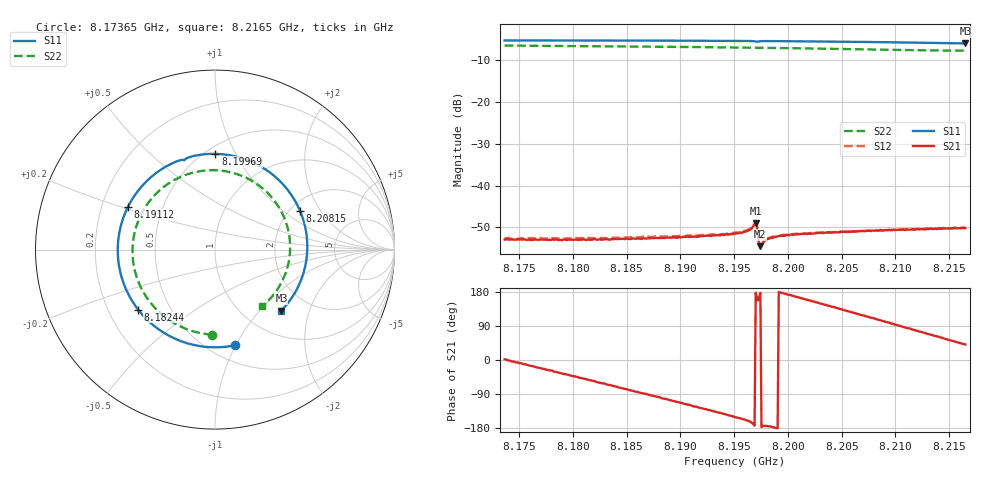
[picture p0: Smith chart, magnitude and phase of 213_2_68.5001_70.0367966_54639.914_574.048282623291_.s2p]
#  HZ  S  RI  R  50.00
! Rohde & Schwarz Vector Network Analyzer
! Rohde-Schwarz,ZNB20-2Port,1311601062101988,3.16
! Created: UTC 3/20/2024, 4:58:07 PM
! freq[Hz]  re:S11  im:S11  re:S21  im:S21  re:S12  im:S12  re:S22  im:S22
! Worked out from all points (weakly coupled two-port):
!   401 points, 8.17365 GHz to 8.2165 GHz, reference 50 ohm
!   highest |S21| = -49.03 dB at 8.19701 GHz (marker M1); lowest = -54.5 dB at 8.19744 GHz (marker M2)
!   lowest |S11| = -6.0 dB at 8.2165 GHz (marker M3), VSWR 3.02, Z = 73 - j66.3 ohm
!   |S11| at or under -10 dB: nowhere
!   |S22| runs from -7.7 to -6.5 dB; largest |S21 - S12| = 0.00019
!   S11 on the Smith chart (normalised r, x): 8.17365 GHz: 0.65, -0.99; 8.18244 GHz: 0.33, -0.31; 8.19112 GHz: 0.31, +0.21; 8.19969 GHz: 0.56, +0.83; 8.20815 GHz: 2.25, +1.34; 8.2165 GHz: 1.46, -1.33
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8.173653e9  0.1106 -0.5332  0.00225 7.3e-05  0.00233 7.39e-05  -0.0155 -0.4735
8.177189e9  -0.1297 -0.5284  0.00207 -0.0009  0.00212 -0.000902  -0.2079 -0.4209
8.180831e9  -0.3515 -0.4149  0.0015 -0.00167  0.00154 -0.00179  -0.3636 -0.2902
8.182438e9  -0.4282 -0.3344  0.00114 -0.00195  0.00115 -0.00205  -0.4112 -0.2143
8.185223e9  -0.5174 -0.1636  0.000427 -0.00226  0.000405 -0.00235  -0.4561 -0.0666
8.188009e9  -0.5411 0.0284  -0.000338 -0.00232  -0.000398 -0.00241  -0.4496 0.0869
8.191115e9  -0.4855 0.2374  -0.00128 -0.00207  -0.00138 -0.00212  -0.3828 0.2452
8.195079e9  -0.3033 0.4443  -0.0023 -0.0013  -0.00239 -0.00125  -0.22 0.3914
8.196257e9  -0.2297 0.4848  -0.0027 -0.000983  -0.00282 -0.000909  -0.1593 0.4178
8.1969e9  -0.1842 0.4997  -0.00342 -0.000391  -0.00347 -0.000227  -0.1248 0.4282
8.197007e9  -0.1761 0.4995  -0.00353 0.00015  -0.0036 0.000267  -0.119 0.4295
8.197436e9  -0.1579 0.5092  -0.00188 9.77e-05  -0.0019 0.000156  -0.0955 0.4348
8.197543e9  -0.1503 0.5125  -0.00195 -9.45e-05  -0.00197 -1.71e-05  -0.0896 0.4359
8.1984e9  -0.0891 0.5273  -0.00236 -0.000183  -0.00241 -8.04e-05  -0.0414 0.4417
8.199685e9  0.00181 0.5335  -0.0025 0.000213  -0.00256 0.000326  0.0315 0.44
8.202257e9  0.1796 0.499  -0.0024 0.00113  -0.00239 0.00124  0.1721 0.4008
8.205042e9  0.3465 0.3959  -0.00191 0.00203  -0.00184 0.0021  0.3018 0.3065
8.208149e9  0.4732 0.2169  -0.000921 0.00275  -0.000846 0.00277  0.3959 0.1507
8.209434e9  0.5015 0.1298  -0.000437 0.00292  -0.000354 0.00293  0.4141 0.0758
8.211148e9  0.5143 0.00808  0.000333 0.00296  0.000376 0.00298  0.4167 -0.0279
8.212862e9  0.4976 -0.1136  0.00103 0.00281  0.00108 0.00284  0.3936 -0.1306
8.216505e9  0.3699 -0.3394  0.00234 0.00202  0.00242 0.00197  0.2627 -0.3161
